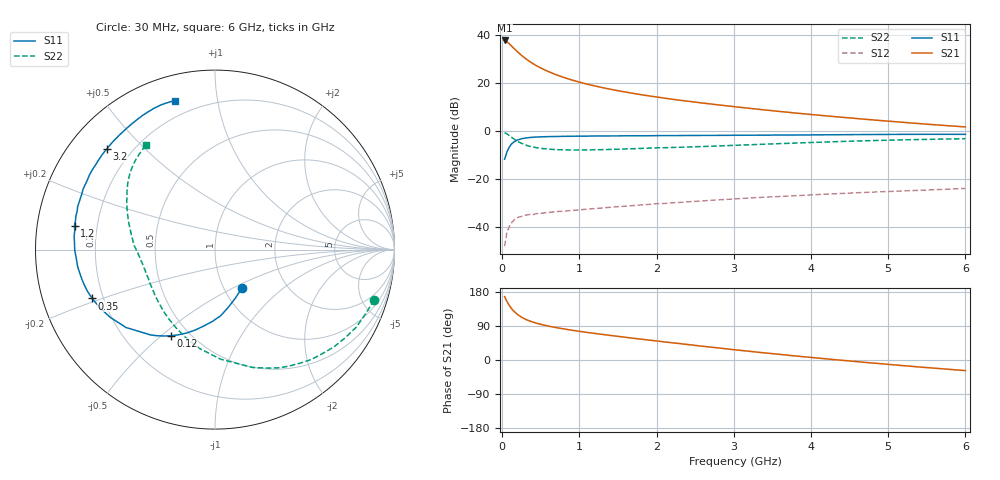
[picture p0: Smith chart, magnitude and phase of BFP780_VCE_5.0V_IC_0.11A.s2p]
! Infineon Technologies  Discrete & RF Semiconductors
! BFP780
! VCE =  5.0 V,  IC = 0.11 A
! Common Emitter S-Parameters:  Jul 2015
# GHz  S  MA  R  50
!  f  S11  S21  S12  S22
! GHz  MAG  ANG  MAG  ANG  MAG  ANG  MAG  ANG
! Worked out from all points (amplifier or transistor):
!   75 points, 30 MHz to 6 GHz, reference 50 ohm
!   highest |S21| = 37.8 dB at 30 MHz (marker M1)
!   |S21| within 3 dB of that: start of sweep to 140.9 MHz
!   unconditionally stable (mu >= 1): 1.623 GHz to end of sweep
!   at 150 MHz: K = 0.20, MSG = 35.8 dB, |S12| = -37.1 dB
!   at 2.3 GHz: K = 1.15, MAG = 19.0 dB, |S12| = -29.7 dB
!   at 6 GHz: K = 1.18, MAG = 10.2 dB, |S12| = -23.9 dB
!   S11 on the Smith chart (normalised r, x): 30 MHz: 1.22, -0.55; 120 MHz: 0.40, -0.54; 350 MHz: 0.16, -0.19; 1.2 GHz: 0.12, +0.08; 3.2 GHz: 0.11, +0.39; 6 GHz: 0.12, +0.76
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0.03  0.2607 -54.6  77.97 167.2  0.004 62.5  0.9306 -17.5
0.05  0.3276 -76.5  74.93 158.6  0.0061 70.9  0.8982 -28.7
0.07  0.4006 -92.1  71 151.1  0.0087 56.6  0.8561 -39.3
0.09  0.4619 -103.9  66.49 144.3  0.0102 55.5  0.8136 -48.9
0.12  0.5398 -117.2  59.67 135.7  0.0121 47.1  0.7492 -61.5
0.15  0.5959 -127.1  53.43 128.7  0.014 45.2  0.6894 -72.3
0.2  0.6589 -138.8  44.66 119.7  0.0159 39.9  0.6113 -87.1
0.25  0.6956 -147.2  37.99 112.8  0.0167 35.2  0.5578 -98.8
0.3  0.7194 -153.4  32.73 107.5  0.0177 32.7  0.5161 -108.5
0.35  0.7363 -158.3  28.68 103.3  0.0183 30.8  0.4869 -116.4
0.45  0.7556 -165.4  22.87 96.7  0.0191 29.0  0.451 -128.5
0.6  0.771 -172.8  17.42 89.4  0.0202 28.4  0.4226 -141.4
0.8  0.7815 -179.7  13.16 82.0  0.0215 28.4  0.4083 -152.8
1.1  0.7885 172.4  9.561 72.8  0.0236 30.1  0.4061 -164.1
1.2  0.7939 170.3  8.772 70.1  0.0244 30.7  0.4101 -166.7
1.6  0.8018 162.6  6.533 59.8  0.0274 31.7  0.4261 -175.6
2.1  0.8087 154.1  4.888 47.8  0.0311 32.8  0.4517 176.4
3.1  0.8227 138.5  3.121 25.1  0.0395 31.6  0.5136 160.4
3.2  0.8241 137.0  3 23.0  0.0404 31.1  0.5205 158.9
4.1  0.838 124.6  2.156 4.8  0.0478 27.4  0.5877 146.5
5.1  0.8576 113.4  1.572 -13.3  0.0561 22.1  0.654 134.4
6  0.8603 105.2  1.226 -28.0  0.064 16.2  0.6971 123.6
